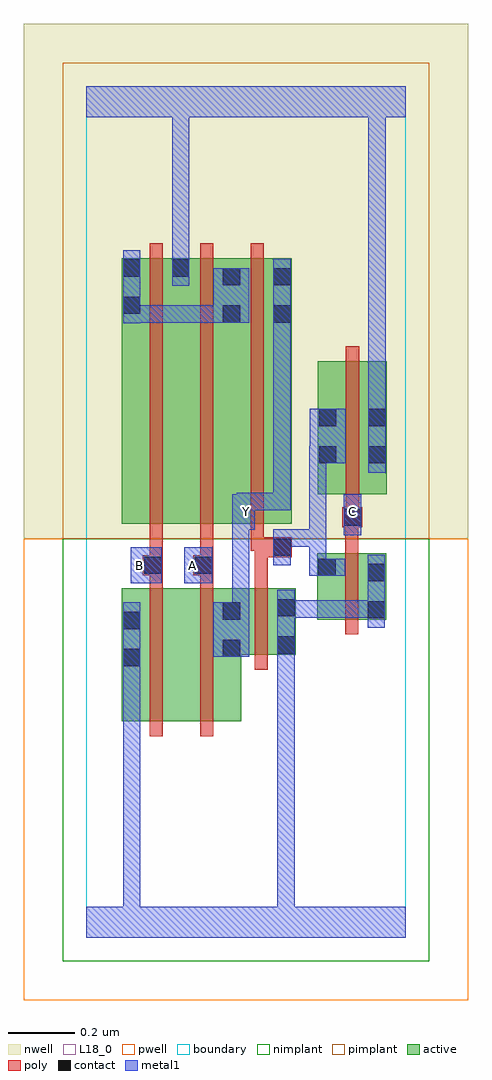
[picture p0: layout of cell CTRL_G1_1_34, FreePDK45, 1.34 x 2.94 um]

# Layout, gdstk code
import gdstk
lib = gdstk.Library(unit=1e-6, precision=1e-09)
def R(c, l, rs):  # rectangles x0, y0, x1, y1
    for r in rs: c.add(gdstk.rectangle(r[:2], r[2:], *l))
def A(c, l, x, y, w, h, nx, ny, dx, dy):  # array of equal rectangles
    R(c, l, [(x+i*dx, y+j*dy, x+i*dx+w, y+j*dy+h) for i in range(nx) for j in range(ny)])
active = (1, 0)
pwell = (2, 0)
nwell = (3, 0)
nimplant = (4, 0)
pimplant = (5, 0)
poly = (9, 0)
contact = (10, 0)
metal1 = (11, 0)
L18_0 = (18, 0)
boundary = (235, 0)

ctrl_g1_1_34 = lib.new_cell('CTRL_G1_1_34')
A(ctrl_g1_1_34, active, 0.254, 1.244, 0.06, 0.8, 3, 1, 0.152, 0)
R(ctrl_g1_1_34, active, [(0.106,0.65,0.286,1.05), (0.286,0.65,0.466,1.05), (0.106,0.756,0.166,1.05), (0.406,0.84,0.466,1.012), (0.406,0.85,0.63,1.05), (0.57,0.85,0.63,1.05), (0.694,0.956,0.754,1.156), (0.694,0.956,0.902,1.156), (0.842,0.956,0.902,1.156), (0.106,1.244,0.166,2.044), (0.106,1.244,0.314,2.044), (0.254,1.244,0.466,2.044), (0.406,1.244,0.618,2.044), (0.696,1.334,0.904,1.734), (0.696,1.334,0.756,1.644), (0.844,1.334,0.904,1.734)])
R(ctrl_g1_1_34, pwell, [(-0.188,-0.188,1.148,1.2)])
R(ctrl_g1_1_34, nwell, [(-0.188,1.2,1.148,2.748)])
R(ctrl_g1_1_34, nimplant, [(-0.072,-0.072,1.032,1.2)])
R(ctrl_g1_1_34, pimplant, [(-0.072,1.2,1.032,2.632)])
A(ctrl_g1_1_34, poly, 0.19, 1.2, 0.04, 0.888, 3, 1, 0.152, 0)
R(ctrl_g1_1_34, poly, [(0.19,0.606,0.23,1.094), (0.342,0.606,0.382,1.094), (0.506,0.806,0.546,1.094), (0.778,0.912,0.818,1.2), (0.19,1.054,0.23,1.13), (0.342,1.054,0.382,1.13), (0.506,1.054,0.546,1.184), (0.17,1.09,0.23,1.15), (0.322,1.09,0.382,1.15), (0.19,1.11,0.23,1.15), (0.19,1.11,0.23,1.15), (0.19,1.11,0.23,1.24), (0.342,1.11,0.382,1.15), (0.342,1.11,0.382,1.15), (0.342,1.11,0.382,1.24), (0.506,1.144,0.618,1.204), (0.778,1.16,0.818,1.274), (0.494,1.164,0.534,1.24), (0.494,1.164,0.546,1.204), (0.506,1.164,0.546,1.204), (0.77,1.234,0.83,1.294), (0.78,1.254,0.82,1.33), (0.78,1.254,0.82,1.294), (0.78,1.254,0.82,1.294), (0.78,1.29,0.82,1.778)])
R(ctrl_g1_1_34, contact, [(0.11,0.816,0.162,0.868), (0.41,0.844,0.462,0.896), (0.574,0.854,0.626,0.906), (0.11,0.928,0.162,0.98), (0.41,0.956,0.462,1.008), (0.846,0.96,0.898,1.012), (0.574,0.966,0.626,1.018), (0.846,1.072,0.898,1.124), (0.698,1.088,0.75,1.14), (0.174,1.094,0.226,1.146), (0.326,1.094,0.378,1.146), (0.562,1.148,0.614,1.2), (0.774,1.238,0.826,1.29), (0.7,1.426,0.752,1.478), (0.848,1.426,0.9,1.478), (0.7,1.538,0.752,1.59), (0.848,1.538,0.9,1.59), (0.41,1.85,0.462,1.902), (0.562,1.85,0.614,1.902), (0.11,1.876,0.162,1.928), (0.41,1.962,0.462,2.014), (0.562,1.962,0.614,2.014), (0.11,1.988,0.162,2.04), (0.258,1.988,0.31,2.04)])
R(ctrl_g1_1_34, metal1, [(0,0,0.96,0.092), (0.11,0.04,0.162,0.092), (0.11,0.04,0.162,0.092), (0.11,0.04,0.162,0.092), (0.11,0.04,0.162,0.092), (0.11,0.04,0.162,0.092), (0.11,0.04,0.162,0.092), (0.11,0.04,0.162,0.768), (0.574,0.04,0.626,0.092), (0.574,0.04,0.626,0.092), (0.574,0.04,0.626,0.092), (0.574,0.04,0.626,0.092), (0.574,0.04,0.626,0.092), (0.574,0.04,0.626,0.092), (0.574,0.04,0.626,0.878), (0.11,0.716,0.162,0.768), (0.11,0.716,0.162,0.768), (0.11,0.716,0.162,0.768), (0.11,0.716,0.162,0.84), (0.11,0.788,0.162,0.84), (0.11,0.788,0.162,0.84), (0.11,0.788,0.162,1.008), (0.574,0.826,0.626,0.878), (0.574,0.826,0.626,0.878), (0.574,0.826,0.626,0.878), (0.574,0.826,0.626,0.878), (0.574,0.826,0.626,0.878), (0.574,0.826,0.626,0.878), (0.574,0.826,0.626,0.878), (0.574,0.826,0.626,0.878), (0.574,0.826,0.626,0.878), (0.574,0.826,0.626,0.878), (0.574,0.826,0.626,1.046), (0.382,0.844,0.49,1.008), (0.846,0.932,0.898,1.152), (0.438,0.956,0.49,1.278), (0.574,0.962,0.788,1.014), (0.736,0.962,0.788,1.014), (0.736,0.962,0.788,1.014), (0.736,0.962,0.788,1.014), (0.736,0.962,0.898,1.014), (0.134,1.066,0.226,1.174), (0.294,1.066,0.378,1.174), (0.67,1.088,0.722,1.228), (0.67,1.088,0.778,1.14), (0.562,1.12,0.614,1.228), (0.562,1.176,0.616,1.228), (0.564,1.176,0.616,1.228), (0.564,1.176,0.722,1.228), (0.67,1.176,0.722,1.228), (0.67,1.176,0.722,1.478), (0.774,1.21,0.826,1.334), (0.438,1.226,0.506,1.334), (0.452,1.282,0.504,1.338), (0.452,1.286,0.504,1.338), (0.452,1.286,0.612,1.338), (0.56,1.286,0.612,1.338), (0.56,1.286,0.614,1.338), (0.562,1.286,0.614,1.338), (0.562,1.286,0.614,1.874), (0.848,1.398,0.9,1.618), (0.67,1.426,0.724,1.478), (0.672,1.426,0.724,1.478), (0.672,1.426,0.78,1.59), (0.848,1.566,0.9,1.618), (0.848,1.566,0.9,1.618), (0.848,1.566,0.9,2.52), (0.562,1.822,0.614,2.042), (0.11,1.848,0.162,2.068), (0.11,1.85,0.162,1.902), (0.11,1.85,0.162,1.902), (0.11,1.85,0.324,1.902), (0.272,1.85,0.324,1.902), (0.272,1.85,0.434,1.902), (0.382,1.85,0.434,1.902), (0.382,1.85,0.434,1.902), (0.382,1.85,0.49,2.014), (0.258,1.96,0.31,2.068), (0.258,2.016,0.31,2.52), (0,2.468,0.96,2.56), (0.258,2.468,0.31,2.52), (0.258,2.468,0.31,2.52), (0.258,2.468,0.31,2.52), (0.258,2.468,0.31,2.52), (0.258,2.468,0.31,2.52), (0.258,2.468,0.31,2.52), (0.258,2.468,0.31,2.52), (0.258,2.468,0.31,2.52), (0.848,2.468,0.9,2.52), (0.848,2.468,0.9,2.52), (0.848,2.468,0.9,2.52), (0.848,2.468,0.9,2.52), (0.848,2.468,0.9,2.52), (0.848,2.468,0.9,2.52), (0.848,2.468,0.9,2.52), (0.848,2.468,0.9,2.52), (0.848,2.468,0.9,2.52), (0.848,2.468,0.9,2.52), (0.848,2.468,0.9,2.52), (0.848,2.468,0.9,2.52), (0.848,2.468,0.9,2.52), (0.848,2.468,0.9,2.52)])
R(ctrl_g1_1_34, L18_0, [(0,0,0.96,0.092), (0.11,0.04,0.162,0.092), (0.11,0.04,0.162,0.092), (0.11,0.04,0.162,0.092), (0.11,0.04,0.162,0.092), (0.11,0.04,0.162,0.092), (0.11,0.04,0.162,0.092), (0.11,0.04,0.162,0.768), (0.574,0.04,0.626,0.092), (0.574,0.04,0.626,0.092), (0.574,0.04,0.626,0.092), (0.574,0.04,0.626,0.092), (0.574,0.04,0.626,0.092), (0.574,0.04,0.626,0.092), (0.574,0.04,0.626,0.878), (0.11,0.716,0.162,0.768), (0.11,0.716,0.162,0.768), (0.11,0.716,0.162,0.768), (0.11,0.716,0.162,0.84), (0.11,0.788,0.162,0.84), (0.11,0.788,0.162,0.84), (0.11,0.788,0.162,1.008), (0.574,0.826,0.626,0.878), (0.574,0.826,0.626,0.878), (0.574,0.826,0.626,0.878), (0.574,0.826,0.626,0.878), (0.574,0.826,0.626,0.878), (0.574,0.826,0.626,0.878), (0.574,0.826,0.626,0.878), (0.574,0.826,0.626,0.878), (0.574,0.826,0.626,0.878), (0.574,0.826,0.626,0.878), (0.574,0.826,0.626,1.046), (0.382,0.844,0.49,1.008), (0.846,0.932,0.898,1.152), (0.438,0.956,0.49,1.278), (0.574,0.962,0.788,1.014), (0.736,0.962,0.788,1.014), (0.736,0.962,0.788,1.014), (0.736,0.962,0.788,1.014), (0.736,0.962,0.898,1.014), (0.134,1.066,0.226,1.174), (0.294,1.066,0.378,1.174), (0.134,1.094,0.186,1.146), (0.294,1.094,0.346,1.146), (0.774,1.21,0.826,1.334), (0.438,1.226,0.506,1.334), (0.454,1.254,0.506,1.306), (0.774,1.254,0.826,1.306), (0.452,1.282,0.504,1.338), (0.452,1.286,0.504,1.338), (0.452,1.286,0.612,1.338), (0.56,1.286,0.612,1.338), (0.56,1.286,0.614,1.338), (0.562,1.286,0.614,1.338), (0.562,1.286,0.614,1.874), (0.848,1.398,0.9,1.618), (0.848,1.566,0.9,1.618), (0.848,1.566,0.9,1.618), (0.848,1.566,0.9,2.52), (0.562,1.822,0.614,2.042), (0.258,1.96,0.31,2.068), (0.258,2.016,0.31,2.52), (0,2.468,0.96,2.56), (0.258,2.468,0.31,2.52), (0.258,2.468,0.31,2.52), (0.258,2.468,0.31,2.52), (0.258,2.468,0.31,2.52), (0.258,2.468,0.31,2.52), (0.258,2.468,0.31,2.52), (0.258,2.468,0.31,2.52), (0.258,2.468,0.31,2.52), (0.848,2.468,0.9,2.52), (0.848,2.468,0.9,2.52), (0.848,2.468,0.9,2.52), (0.848,2.468,0.9,2.52), (0.848,2.468,0.9,2.52), (0.848,2.468,0.9,2.52), (0.848,2.468,0.9,2.52), (0.848,2.468,0.9,2.52), (0.848,2.468,0.9,2.52), (0.848,2.468,0.9,2.52), (0.848,2.468,0.9,2.52), (0.848,2.468,0.9,2.52), (0.848,2.468,0.9,2.52), (0.848,2.468,0.9,2.52)])
R(ctrl_g1_1_34, boundary, [(0,0,0.96,2.56)])
ctrl_g1_1_34.add(gdstk.Label('A', (0.32,1.12), layer=11, texttype=0))
ctrl_g1_1_34.add(gdstk.Label('B', (0.16,1.12), layer=11, texttype=0))
ctrl_g1_1_34.add(gdstk.Label('C', (0.8,1.28), layer=11, texttype=0))
ctrl_g1_1_34.add(gdstk.Label('Y', (0.48,1.28), layer=11, texttype=0))

lib.write_gds('CTRL_G1_1_34.gds')
